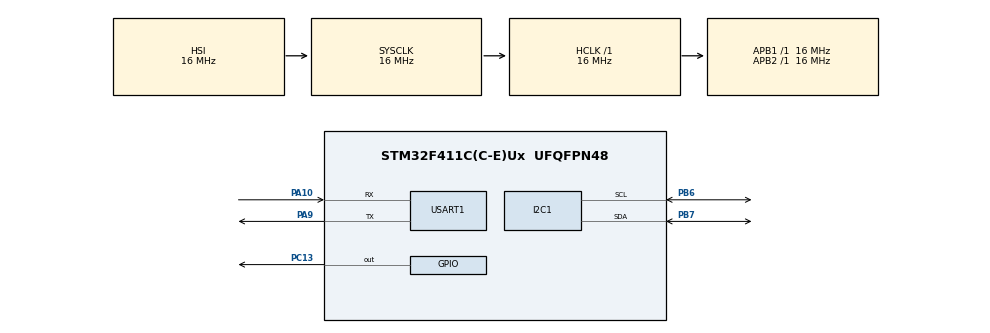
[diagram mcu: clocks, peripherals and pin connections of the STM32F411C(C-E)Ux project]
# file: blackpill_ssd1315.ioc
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Mcu.Family=STM32F4
Mcu.Name=STM32F411C(C-E)Ux
Mcu.Package=UFQFPN48
NVIC.PriorityGroup=NVIC_PRIORITYGROUP_4
PA10.Mode=Asynchronous
PA10.Signal=USART1_RX
PA9.Mode=Asynchronous
PA9.Signal=USART1_TX
PB6.Mode=I2C
PB6.Signal=I2C1_SCL
PB7.Mode=I2C
PB7.Signal=I2C1_SDA
PC13-ANTI_TAMP.Signal=GPIO_Output
PC14-OSC32_IN.Mode=LSE-External-Oscillator
PC14-OSC32_IN.Signal=RCC_OSC32_IN
PC15-OSC32_OUT.Mode=LSE-External-Oscillator
PC15-OSC32_OUT.Signal=RCC_OSC32_OUT
PH0\ -\ OSC_IN.Mode=HSE-External-Oscillator
PH0\ -\ OSC_IN.Signal=RCC_OSC_IN
PH1\ -\ OSC_OUT.Mode=HSE-External-Oscillator
PH1\ -\ OSC_OUT.Signal=RCC_OSC_OUT
ProjectManager.HeapSize=0x200
ProjectManager.StackSize=0x400
ProjectManager.TargetToolchain=Makefile
RCC.AHBFreq_Value=16000000
RCC.APB1Freq_Value=16000000
RCC.APB2Freq_Value=16000000
RCC.CortexFreq_Value=16000000
RCC.HSE_VALUE=25000000
RCC.HSI_VALUE=16000000
RCC.SYSCLKFreq_VALUE=16000000
RCC.VCOOutputFreq_Value=192000000
USART1.VirtualMode=VM_ASYNC
board=custom

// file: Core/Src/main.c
/* USER CODE BEGIN Header */
/**
  ******************************************************************************
  * @file           : main.c
  * @brief          : Main program body
  ******************************************************************************
  * @attention
  *
  * Copyright (c) 2023 STMicroelectronics.
  * All rights reserved.
  *
  * This software is licensed under terms that can be found in the LICENSE file
  * in the root directory of this software component.
  * If no LICENSE file comes with this software, it is provided AS-IS.
  *
  ******************************************************************************
  */
/* USER CODE END Header */
#include "main.h"

/* USER CODE BEGIN Includes */
#include "april_uart_logger.h"
#include "april_ssd1315.h"
#include "image_data.h"
#include <string.h>
#include <unistd.h>

/* USER CODE END Includes */

I2C_HandleTypeDef hi2c1;

UART_HandleTypeDef huart1;

/* USER CODE BEGIN PV */
const char *welcome_message = "hi! ʕ •ᴥ•ʔ. this is an SSD1315 test program!\r\n";
uint8_t image_data[] = {
  0xff, 0xff, 0xff, 0xff, 0xff, 0xff, 0xff, 0xff, 0xff, 0xff, 0xff, 0xff, 0xff, 0xff, 0xff, 0xff,
  0xff, 0xff, 0xff, 0xff, 0xff, 0xff, 0x7f, 0x7f, 0x7f, 0x3f, 0x3f, 0x3f, 0x3f, 0x1f, 0x1f, 0x1f,
  0x1f, 0x1f, 0x1f, 0x1f, 0x1f, 0x3f, 0x3f, 0x7f, 0x01, 0x01, 0x03, 0x83, 0x87, 0xcf, 0xff, 0xff,
  0xff, 0xff, 0xff, 0xff, 0xff, 0xff, 0xff, 0xff, 0xff, 0xff, 0xff, 0xff, 0xff, 0xff, 0xff, 0xff,
  0xff, 0xff, 0xff, 0xff, 0xff, 0xff, 0xff, 0xff, 0xff, 0xff, 0xff, 0xff, 0xff, 0xff, 0xff, 0xff,
  0xff, 0xff, 0xff, 0xff, 0xff, 0xff, 0xff, 0xff, 0xff, 0xff, 0xff, 0xff, 0xff, 0xff, 0xff, 0xff,
  0xff, 0xff, 0xff, 0xff, 0xff, 0xff, 0xff, 0xff, 0xff, 0xff, 0xff, 0xff, 0xff, 0xff, 0xff, 0xff,
  0xff, 0xff, 0xff, 0xff, 0xff, 0xff, 0xff, 0xff, 0xff, 0xff, 0xff, 0xff, 0xff, 0xff, 0xff, 0xff,

  0xff, 0xff, 0xff, 0xff, 0xff, 0xff, 0xff, 0xff, 0x7f, 0x3f, 0x3f, 0x1f, 0x1f, 0x0f, 0x07, 0x07,
  0x03, 0x03, 0x01, 0x01, 0x00, 0x00, 0x00, 0x00, 0x00, 0x00, 0x00, 0x00, 0x00, 0x00, 0x00, 0x00,
  0x00, 0x00, 0x00, 0x00, 0x00, 0x00, 0x00, 0x00, 0x00, 0x00, 0x00, 0x00, 0x00, 0x00, 0x01, 0x03,
  0x03, 0x07, 0x0f, 0x1f, 0x3f, 0x7f, 0xff, 0xff, 0xff, 0xff, 0xff, 0xff, 0xff, 0xff, 0xff, 0xff,
  0xff, 0xff, 0xff, 0xff, 0xff, 0xff, 0xff, 0xff, 0xff, 0xff, 0xff, 0xff, 0xff, 0xff, 0xff, 0xff,
  0xff, 0xff, 0xff, 0xff, 0xff, 0xff, 0xff, 0xff, 0xff, 0xff, 0xff, 0xff, 0xff, 0xff, 0xff, 0xff,
  0xff, 0xff, 0xff, 0xff, 0xff, 0xff, 0xff, 0xff, 0xff, 0xff, 0xff, 0xff, 0xff, 0xff, 0xff, 0xff,
  0xff, 0xff, 0xff, 0xff, 0xff, 0xff, 0xff, 0xff, 0xff, 0xff, 0xff, 0xff, 0xff, 0xff, 0xff, 0xff,

  0xff, 0xff, 0xf3, 0xe3, 0xe1, 0xc1, 0xc1, 0x00, 0x00, 0xc0, 0xe0, 0xf8, 0xbc, 0x8f, 0xc7, 0xc3,
  0xe0, 0xe0, 0x60, 0x70, 0x70, 0x30, 0x30, 0x38, 0x30, 0x30, 0x70, 0x70, 0x70, 0x60, 0x60, 0x60,
  0x70, 0x70, 0x30, 0x38, 0x38, 0x1c, 0x0c, 0x0c, 0x1c, 0x38, 0x70, 0x60, 0xe0, 0x70, 0x38, 0x10,
  0x06, 0x0e, 0x06, 0x06, 0x0e, 0x04, 0x00, 0x07, 0x3f, 0xff, 0xff, 0xff, 0xff, 0xff, 0xff, 0xff,
  0xff, 0xff, 0xff, 0xff, 0xff, 0xff, 0xff, 0xff, 0xff, 0xff, 0xff, 0xff, 0xff, 0xff, 0xff, 0xff,
  0xff, 0xff, 0xff, 0xff, 0xff, 0xff, 0xff, 0xff, 0xff, 0xff, 0xff, 0xff, 0xff, 0xff, 0xff, 0xff,
  0xff, 0xff, 0xff, 0xff, 0xff, 0xff, 0xff, 0xff, 0xff, 0xff, 0xff, 0xff, 0xff, 0xff, 0xff, 0xff,
  0xff, 0xff, 0xff, 0xff, 0xff, 0xff, 0xff, 0xff, 0xff, 0xff, 0xff, 0xff, 0xff, 0xff, 0xff, 0xff,

  0xff, 0xff, 0xff, 0xff, 0xff, 0xff, 0xfd, 0x00, 0x07, 0x0f, 0x07, 0x03, 0x03, 0x01, 0x01, 0x80,
  0x00, 0x00, 0x00, 0x00, 0x00, 0x00, 0x00, 0x00, 0x00, 0x00, 0x00, 0x00, 0x00, 0x00, 0x00, 0x00,
  0x00, 0x00, 0x78, 0x70, 0x40, 0x00, 0xc0, 0xd0, 0x80, 0x00, 0x00, 0x00, 0x00, 0x00, 0x00, 0x00,
  0x00, 0x00, 0x00, 0x00, 0x00, 0x00, 0x00, 0x00, 0x00, 0x00, 0x07, 0x1f, 0x7f, 0xff, 0xff, 0xff,
  0xff, 0xff, 0xff, 0xff, 0xff, 0xff, 0xff, 0xff, 0xff, 0xff, 0xff, 0xff, 0xff, 0xff, 0xff, 0xff,
  0xff, 0xff, 0xff, 0xff, 0xff, 0xff, 0xff, 0xff, 0xff, 0xff, 0xff, 0xff, 0xff, 0xff, 0xff, 0xff,
  0xff, 0xff, 0xff, 0xff, 0xff, 0xff, 0xff, 0xff, 0xff, 0xff, 0xff, 0xff, 0xff, 0xff, 0xff, 0xff,
  0xff, 0xff, 0xff, 0xff, 0xff, 0xff, 0xff, 0xff, 0xff, 0xff, 0xff, 0xff, 0xff, 0xff, 0xff, 0xff,

  0xff, 0xff, 0xff, 0xff, 0xff, 0xff, 0x1f, 0x00, 0x00, 0x00, 0x00, 0x00, 0x00, 0x00, 0x62, 0xf1,
  0xf8, 0x04, 0x04, 0x0e, 0x06, 0x1e, 0xfe, 0xfe, 0xfe, 0xff, 0xff, 0xff, 0xff, 0xff, 0xff, 0xff,
  0xcf, 0x83, 0x03, 0x03, 0x03, 0x06, 0x0e, 0xfe, 0xfd, 0x94, 0x6e, 0xfc, 0x7c, 0x7e, 0x7e, 0x7f,
  0xfe, 0x7e, 0x00, 0x00, 0x00, 0x00, 0x00, 0x00, 0xc0, 0xc0, 0xc0, 0xc0, 0xe0, 0xe1, 0xe3, 0xff,
  0xff, 0xff, 0xff, 0xff, 0xff, 0xff, 0xff, 0xff, 0xff, 0xff, 0xff, 0xff, 0xff, 0xff, 0xff, 0xff,
  0xff, 0xff, 0xff, 0xff, 0xff, 0xff, 0xff, 0xff, 0xff, 0xff, 0xff, 0xff, 0xff, 0xff, 0xff, 0xff,
  0xff, 0xff, 0xff, 0xff, 0xff, 0xff, 0xff, 0xff, 0xff, 0xff, 0xff, 0xff, 0xff, 0xff, 0xff, 0xff,
  0xff, 0xff, 0xff, 0xff, 0xff, 0xff, 0xff, 0xff, 0xff, 0xff, 0xff, 0xff, 0xff, 0xff, 0xff, 0xff,

  0xff, 0xff, 0xff, 0xff, 0x3f, 0x07, 0x00, 0x00, 0x00, 0x00, 0x00, 0x00, 0x00, 0x00, 0x00, 0x1f,
  0x7f, 0xf8, 0xf8, 0xfa, 0xfe, 0xfe, 0xff, 0xff, 0xff, 0xff, 0xff, 0xff, 0xff, 0xff, 0xff, 0x7f,
  0xff, 0xff, 0xff, 0xff, 0xff, 0xff, 0x7f, 0xf9, 0x19, 0x0f, 0x00, 0x00, 0x00, 0x00, 0x00, 0x00,
  0x00, 0x80, 0x80, 0x80, 0x80, 0x80, 0x80, 0xf0, 0xff, 0xff, 0xff, 0xff, 0xff, 0xff, 0xff, 0xff,
  0xff, 0xff, 0xff, 0xff, 0xff, 0xff, 0xff, 0xff, 0xff, 0xff, 0xff, 0xff, 0xff, 0xff, 0xff, 0xff,
  0xff, 0xff, 0xff, 0xff, 0xff, 0xff, 0xff, 0xff, 0xff, 0xff, 0xff, 0xff, 0xff, 0xff, 0xff, 0xff,
  0xff, 0xff, 0xff, 0xff, 0xff, 0xff, 0xff, 0xff, 0xff, 0xff, 0xff, 0xff, 0xff, 0xff, 0xff, 0xff,
  0xff, 0xff, 0xff, 0xff, 0xff, 0xff, 0xff, 0xff, 0xff, 0xff, 0xff, 0xff, 0xff, 0xff, 0xff, 0xff,

  0xff, 0xff, 0xff, 0xff, 0xfc, 0xfc, 0xfc, 0xfc, 0xfc, 0xfe, 0xfe, 0xfe, 0xfe, 0xfe, 0xe0, 0xe0,
  0xe0, 0xf0, 0xf1, 0xf9, 0xf9, 0xfb, 0xf3, 0xe3, 0xe3, 0xe7, 0xf7, 0xf7, 0xff, 0xf7, 0x73, 0x03,
  0x03, 0x07, 0x01, 0x03, 0x03, 0x01, 0x01, 0x00, 0x00, 0x00, 0x00, 0x00, 0x00, 0x00, 0x00, 0x00,
  0x7f, 0xff, 0xff, 0xff, 0xff, 0xff, 0xff, 0xff, 0xff, 0xff, 0xff, 0xff, 0xff, 0xff, 0xff, 0xff,
  0xff, 0xff, 0xff, 0xff, 0xff, 0xff, 0xff, 0xff, 0xff, 0xff, 0xff, 0xff, 0xff, 0xff, 0xff, 0xff,
  0xff, 0xff, 0xff, 0xff, 0xff, 0xff, 0xff, 0xff, 0xff, 0xff, 0xff, 0xff, 0xff, 0xff, 0xff, 0xff,
  0xff, 0xff, 0xff, 0xff, 0xff, 0xff, 0xff, 0xff, 0xff, 0xff, 0xff, 0xff, 0xff, 0xff, 0xff, 0xff,
  0xff, 0xff, 0xff, 0xff, 0xff, 0xff, 0xff, 0xff, 0xff, 0xff, 0xff, 0xff, 0xff, 0xff, 0xff, 0xff,

  0xff, 0xff, 0xff, 0xff, 0xff, 0xff, 0xff, 0xff, 0xff, 0xff, 0xff, 0xff, 0xff, 0xff, 0xff, 0xff,
  0xff, 0xff, 0xff, 0xff, 0xff, 0xff, 0xff, 0xff, 0x3f, 0x0f, 0x07, 0x03, 0x01, 0x00, 0x00, 0x00,
  0x00, 0x00, 0x00, 0x00, 0x00, 0x00, 0x00, 0x00, 0x00, 0x00, 0x00, 0x00, 0x00, 0x00, 0x00, 0x00,
  0x00, 0x00, 0x03, 0x1f, 0x7f, 0xff, 0xff, 0xff, 0xff, 0xff, 0xff, 0xff, 0xff, 0xff, 0xff, 0xff,
  0xff, 0xff, 0xff, 0xff, 0xff, 0xff, 0xff, 0xff, 0xff, 0xff, 0xff, 0xff, 0xff, 0xff, 0xff, 0xff,
  0xff, 0xff, 0xff, 0xff, 0xff, 0xff, 0xff, 0xff, 0xff, 0xff, 0xff, 0xff, 0xff, 0xff, 0xff, 0xff,
  0xff, 0xff, 0xff, 0xff, 0xff, 0xff, 0xff, 0xff, 0xff, 0xff, 0xff, 0xff, 0xff, 0xff, 0xff, 0xff,
  0xff, 0xff, 0xff, 0xff, 0xff, 0xff, 0xff, 0xff, 0xff, 0xff, 0xff, 0xff, 0xff, 0xff, 0xff, 0xff
};
april_logger logger = {};
april_ssd1315 ssd1315 = {};

/* USER CODE END PV */

void SystemClock_Config(void);
static void MX_GPIO_Init(void);
static void MX_USART1_UART_Init(void);
static void MX_I2C1_Init(void);

int main(void)
{

  /* MCU Configuration--------------------------------------------------------*/

  /* Reset of all peripherals, Initializes the Flash interface and the Systick. */
  HAL_Init();

  /* Configure the system clock */
  SystemClock_Config();

  /* Initialize all configured peripherals */
  MX_GPIO_Init();
  MX_USART1_UART_Init();
  MX_I2C1_Init();
  /* USER CODE BEGIN 2 */

  april_ssd1315_init(&ssd1315, &logger, &hi2c1);
  april_ssd1315_clear(&ssd1315);
  april_ssd1315_refresh(&ssd1315);

  HAL_UART_Transmit(&huart1, (uint8_t*) welcome_message, strlen(welcome_message), 1000);

  // Display lain
  april_ssd1315_set_horiz_data(&ssd1315, image_data);
  april_ssd1315_refresh(&ssd1315);
  HAL_Delay(5000);
  april_ssd1315_clear(&ssd1315);
  april_ssd1315_refresh(&ssd1315);

  int frame_index = 0;
  /* USER CODE END 2 */

  /* Infinite loop */
  /* USER CODE BEGIN WHILE */
  while (1)
  {
    april_ssd1315_set_horiz_data(&ssd1315, frames[frame_index]);
    april_ssd1315_refresh(&ssd1315);

    frame_index = (frame_index + 1) % num_frames;
    /* USER CODE END WHILE */

  }
}

void SystemClock_Config(void)
{
  RCC_OscInitTypeDef RCC_OscInitStruct = {0};
  RCC_ClkInitTypeDef RCC_ClkInitStruct = {0};

  /** Configure the main internal regulator output voltage
  */
  __HAL_RCC_PWR_CLK_ENABLE();
  __HAL_PWR_VOLTAGESCALING_CONFIG(PWR_REGULATOR_VOLTAGE_SCALE1);

  /** Initializes the RCC Oscillators according to the specified parameters
  * in the RCC_OscInitTypeDef structure.
  */
  RCC_OscInitStruct.OscillatorType = RCC_OSCILLATORTYPE_HSI;
  RCC_OscInitStruct.HSIState = RCC_HSI_ON;
  RCC_OscInitStruct.HSICalibrationValue = RCC_HSICALIBRATION_DEFAULT;
  RCC_OscInitStruct.PLL.PLLState = RCC_PLL_NONE;
  if (HAL_RCC_OscConfig(&RCC_OscInitStruct) != HAL_OK)
  {
    Error_Handler();
  }

  /** Initializes the CPU, AHB and APB buses clocks
  */
  RCC_ClkInitStruct.ClockType = RCC_CLOCKTYPE_HCLK|RCC_CLOCKTYPE_SYSCLK
                              |RCC_CLOCKTYPE_PCLK1|RCC_CLOCKTYPE_PCLK2;
  RCC_ClkInitStruct.SYSCLKSource = RCC_SYSCLKSOURCE_HSI;
  RCC_ClkInitStruct.AHBCLKDivider = RCC_SYSCLK_DIV1;
  RCC_ClkInitStruct.APB1CLKDivider = RCC_HCLK_DIV1;
  RCC_ClkInitStruct.APB2CLKDivider = RCC_HCLK_DIV1;

  if (HAL_RCC_ClockConfig(&RCC_ClkInitStruct, FLASH_LATENCY_0) != HAL_OK)
  {
    Error_Handler();
  }
}

static void MX_I2C1_Init(void)
{

  hi2c1.Instance = I2C1;
  hi2c1.Init.ClockSpeed = 100000;
  hi2c1.Init.DutyCycle = I2C_DUTYCYCLE_2;
  hi2c1.Init.OwnAddress1 = 0;
  hi2c1.Init.AddressingMode = I2C_ADDRESSINGMODE_7BIT;
  hi2c1.Init.DualAddressMode = I2C_DUALADDRESS_DISABLE;
  hi2c1.Init.OwnAddress2 = 0;
  hi2c1.Init.GeneralCallMode = I2C_GENERALCALL_DISABLE;
  hi2c1.Init.NoStretchMode = I2C_NOSTRETCH_DISABLE;
  if (HAL_I2C_Init(&hi2c1) != HAL_OK)
  {
    Error_Handler();
  }

}

static void MX_USART1_UART_Init(void)
{

  huart1.Instance = USART1;
  huart1.Init.BaudRate = 115200;
  huart1.Init.WordLength = UART_WORDLENGTH_8B;
  huart1.Init.StopBits = UART_STOPBITS_1;
  huart1.Init.Parity = UART_PARITY_NONE;
  huart1.Init.Mode = UART_MODE_TX_RX;
  huart1.Init.HwFlowCtl = UART_HWCONTROL_NONE;
  huart1.Init.OverSampling = UART_OVERSAMPLING_16;
  if (HAL_UART_Init(&huart1) != HAL_OK)
  {
    Error_Handler();
  }

}

static void MX_GPIO_Init(void)
{
  GPIO_InitTypeDef GPIO_InitStruct = {0};

  /* GPIO Ports Clock Enable */
  __HAL_RCC_GPIOC_CLK_ENABLE();
  __HAL_RCC_GPIOH_CLK_ENABLE();
  __HAL_RCC_GPIOA_CLK_ENABLE();
  __HAL_RCC_GPIOB_CLK_ENABLE();

  /*Configure GPIO pin Output Level */
  HAL_GPIO_WritePin(GPIOC, GPIO_PIN_13, GPIO_PIN_RESET);

  /*Configure GPIO pin : PC13 */
  GPIO_InitStruct.Pin = GPIO_PIN_13;
  GPIO_InitStruct.Mode = GPIO_MODE_OUTPUT_PP;
  GPIO_InitStruct.Pull = GPIO_NOPULL;
  GPIO_InitStruct.Speed = GPIO_SPEED_FREQ_LOW;
  HAL_GPIO_Init(GPIOC, &GPIO_InitStruct);

}

void Error_Handler(void)
{
  __disable_irq();
  while (1)
  {
  }
}
